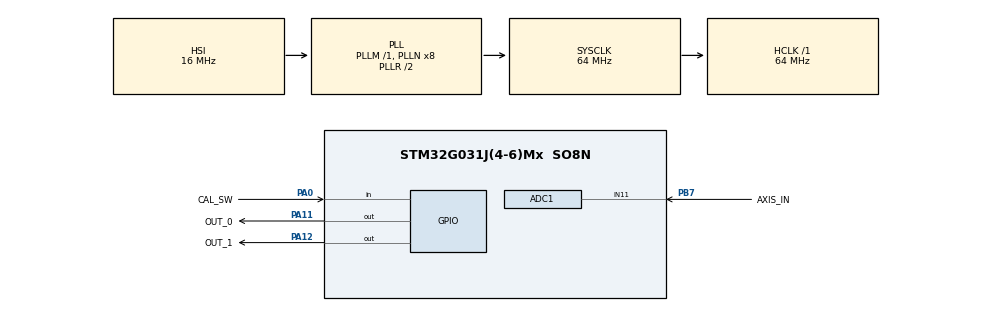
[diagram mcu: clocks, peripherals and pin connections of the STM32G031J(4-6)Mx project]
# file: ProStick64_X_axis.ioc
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ADC1.Channel-0\#ChannelRegularConversion=ADC_CHANNEL_11
ADC1.ContinuousConvMode=ENABLE
ADC1.NbrOfConversionFlag=1
ADC1.OversamplingMode=ENABLE
ADC1.Rank-0\#ChannelRegularConversion=1
ADC1.Ratio=ADC_OVERSAMPLING_RATIO_4
ADC1.RightBitShift=ADC_RIGHTBITSHIFT_2
ADC1.SamplingTime-0\#ChannelRegularConversion=ADC_SAMPLINGTIME_COMMON_1
ADC1.master=1
Mcu.Family=STM32G0
Mcu.Name=STM32G031J(4-6)Mx
Mcu.Package=SO8N
PA0.GPIO_Label=CAL_SW
PA0.Signal=GPIO_Input
PA11\ [PA9].GPIO_Label=OUT_0
PA11\ [PA9].Signal=GPIO_Output
PA12\ [PA10].GPIO_Label=OUT_1
PA12\ [PA10].Signal=GPIO_Output
PA13.Mode=Serial_Wire
PA13.Signal=SYS_SWDIO
PA14-BOOT0.Mode=Serial_Wire
PA14-BOOT0.Signal=SYS_SWCLK
PB7.GPIO_Label=AXIS_IN
PB7.Mode=IN11
PB7.Signal=ADC1_IN11
ProjectManager.HeapSize=0x200
ProjectManager.StackSize=0x400
ProjectManager.TargetToolchain=STM32CubeIDE
RCC.ADCFreq_Value=64000000
RCC.AHBFreq_Value=64000000
RCC.CortexFreq_Value=64000000
RCC.EXTERNAL_CLOCK_VALUE=12288000
RCC.HCLKFreq_Value=64000000
RCC.HSE_VALUE=8000000
RCC.HSI_VALUE=16000000
RCC.LSE_VALUE=32768
RCC.SYSCLKFreq_VALUE=64000000
RCC.SYSCLKSource=RCC_SYSCLKSOURCE_PLLCLK
RCC.VCOOutputFreq_Value=128000000
board=custom

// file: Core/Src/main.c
/* USER CODE BEGIN Header */
/**
  ******************************************************************************
  * @file           : main.c
  * @brief          : Main program body v3 for X axis processor
  ******************************************************************************
  ******************************************************************************
  * All the code OUTSIDE the "USER CODE" blocks is copyrighted as follows:
  *
  * Copyright (c) 2020 STMicroelectronics
  * All rights reserved
  *
  * This software component is licensed by ST under BSD 3-Clause license,
  * the "License"; You may not use this file except in compliance with the
  * License. You may obtain a copy of the License at:
  *                        opensource.org/licenses/BSD-3-Clause
  *
  ******************************************************************************
  *
  * All the code INSIDE the "USER CODE" blocks is copyrighted as follows:
  *
  * Copyright (c) 2020 Lorenzo Iori
  *
  * This program is free software: you can redistribute it and/or modify
  * it under the terms of the GNU General Public License as published by
  * the Free Software Foundation, either version 3 of the License, or
  * (at your option) any later version.
  *
  * This program is distributed in the hope that it will be useful,
  * but WITHOUT ANY WARRANTY; without even the implied warranty of
  * MERCHANTABILITY or FITNESS FOR A PARTICULAR PURPOSE.  See the
  * GNU General Public License for more details.
  *
  * You should have received a copy of the GNU General Public License
  * along with this program.  If not, see <http://www.gnu.org/licenses/>.
  */
/* USER CODE END Header */

#include "main.h"

/* USER CODE BEGIN PD */
#define MAX_RANGE     90			//Maximum number of steps in every direction
#define MAX_RANGE_EXT 120			//Maximum number of steps in every direction (ext)
#define DEADZONE      250			//Area that will be ignored (0-2048)
/* USER CODE END PD */

ADC_HandleTypeDef hadc1;

void SystemClock_Config(void);
static void MX_GPIO_Init(void);
static void MX_ADC1_Init(void);
/* USER CODE BEGIN PFP */
int16_t   getCalFlashSlot	(void);
void 		  calibration		  (uint8_t, uint8_t);
void 		  draw			      (int16_t);
void 		  writeToFlash	  (uint32_t, uint32_t, uint8_t);
void 		  eraseFlash 		  (void);
uint16_t 	getValue		    (void);
void 		  rotateLeft 		  (volatile uint32_t*);
void 		  rotateRight 	  (volatile uint32_t*);
void      swdioInput      (void);

/* USER CODE END PFP */

/* USER CODE BEGIN 0 */
volatile uint32_t* FLASH_SR  	  = (uint32_t*)0x40022010;  //MEMORY ADDRESSES
volatile uint32_t* FLASH_CR  	  = (uint32_t*)0x40022014;
volatile uint32_t* PAGE15_SLOT1 = (uint32_t*)0x08007800;
volatile uint32_t* GPIOA_IDR 	  = (uint32_t*)0x50000010;
volatile uint32_t* GPIOB_IDR 	  = (uint32_t*)0x50000410;
volatile uint32_t* GPIOA_ODR 	  = (uint32_t*)0x50000014;
volatile uint32_t* ADC_ISR 		  = (uint32_t*)0x40012400;
volatile uint32_t* ADC_DR 		  = (uint32_t*)0x40012440;
/* USER CODE END 0 */

int main(void)
{

  /* MCU Configuration--------------------------------------------------------*/

  /*Reset of all peripherals, Initializes the Flash interface and the Systick.*/
  HAL_Init();

  /* Configure the system clock */
  SystemClock_Config();

  /* Initialize all configured peripherals */
  MX_GPIO_Init();
  MX_ADC1_Init();
  /* USER CODE BEGIN 2 */
  HAL_ADC_Start(&hadc1);
  //The next line configures the output register with the bit wheel
  *GPIOA_ODR = (*GPIOA_ODR & 0xFFFF0000) + 0x6600;
  uint16_t calSwRead = (uint16_t)(*GPIOA_IDR) & 0x1; //calSw = GPIOA_PIN0 status
  uint8_t  calSw = 0;
  if (calSwRead) calSw = 1;
  int16_t 	calFlashSlot = getCalFlashSlot();

  //If getCalFlashSlot returns -1 it means there is no calibration data stored
  if (calFlashSlot == -1) calibration(calSw, 0);

  //If it returns 255 it means the memory is full. Erase + calibration needed.
  if (calFlashSlot == 255){
    eraseFlash();
    calibration(calSw, 0);
  }
  uint32_t 	w1 = *(PAGE15_SLOT1 + ((calFlashSlot)*2));
  uint32_t 	w2 = *(PAGE15_SLOT1 + ((calFlashSlot)*2) + 1);
  uint16_t 	w1a = (uint16_t)(w1>>16);
  uint16_t 	neutral16 = (uint16_t) w1;
  uint16_t 	calFactAInt = (uint16_t)(w2>>16);
  uint16_t 	calFactBInt = (uint16_t) w2;
  uint16_t 	min = w1a & 0x7FFF;
  uint8_t  	calSwOld = (uint8_t)(w1a >> 15);
  if (calSwOld != calSw){
  	calFlashSlot++;
    calibration(calSw, (uint8_t)calFlashSlot);
  }
  float    	calFactA = (float)calFactAInt / 10000;
  float    	calFactB = (float)calFactBInt / 10000;

  uint16_t 	value16, value16Old, value16Raw;
  int16_t 	steps = 0, pos = 0;
  uint16_t	stepScale = 0;
  value16Old = 2048;
  value16Raw = getValue();
  if (value16Raw < 1500 || value16Raw > 2500){
	  stepScale = 4096 / (MAX_RANGE_EXT * 2);
  } else {
	  stepScale = 4096 / (MAX_RANGE * 2);
  }
    /* USER CODE END 2 */

    /* Infinite loop */
    /* USER CODE BEGIN WHILE */
    while (1)
    {
  	  value16Raw = getValue();
  	  if (value16Raw < neutral16){
  		  if (value16Raw < min) value16Raw = min;
  		  value16 = value16Raw - min;
  		  value16 = value16 * calFactA;
  	  }
  	  if (value16Raw == neutral16)	value16 = neutral16;
  	  if (value16Raw > neutral16){
  		  value16 = value16Raw - neutral16;
  		  value16 = value16 * calFactB;
  		  value16 = value16 + 2048;
  	  }
  	  if (value16 > 2048 - DEADZONE && value16 < 2048 + DEADZONE){
  		  value16Old = value16;
  		  while (pos > 0){
  			  rotateLeft(GPIOA_ODR);
  			  pos--;
  		  }
  		  while (pos < 0){
  			  rotateRight(GPIOA_ODR);
  			  pos++;
  		  }
  	  }
  	  steps = steps + ((int16_t)value16 - value16Old);
  	  value16Old = value16;
  	  while (steps < -stepScale){
  		  rotateLeft(GPIOA_ODR);
  		  steps = steps + stepScale;
  		  pos--;
  	  }
  	  while (steps > stepScale){
  		  rotateRight(GPIOA_ODR);
  		  steps = steps - stepScale;
  		  pos++;
  	  }

    /* USER CODE END WHILE */

  }
}

void SystemClock_Config(void)
{
  RCC_OscInitTypeDef RCC_OscInitStruct = {0};
  RCC_ClkInitTypeDef RCC_ClkInitStruct = {0};
  RCC_PeriphCLKInitTypeDef PeriphClkInit = {0};

  /** Configure the main internal regulator output voltage
  */
  HAL_PWREx_ControlVoltageScaling(PWR_REGULATOR_VOLTAGE_SCALE1);
  /** Initializes the CPU, AHB and APB busses clocks
  */
  RCC_OscInitStruct.OscillatorType = RCC_OSCILLATORTYPE_HSI;
  RCC_OscInitStruct.HSIState = RCC_HSI_ON;
  RCC_OscInitStruct.HSIDiv = RCC_HSI_DIV1;
  RCC_OscInitStruct.HSICalibrationValue = RCC_HSICALIBRATION_DEFAULT;
  RCC_OscInitStruct.PLL.PLLState = RCC_PLL_ON;
  RCC_OscInitStruct.PLL.PLLSource = RCC_PLLSOURCE_HSI;
  RCC_OscInitStruct.PLL.PLLM = RCC_PLLM_DIV1;
  RCC_OscInitStruct.PLL.PLLN = 8;
  RCC_OscInitStruct.PLL.PLLP = RCC_PLLP_DIV2;
  RCC_OscInitStruct.PLL.PLLQ = RCC_PLLQ_DIV2;
  RCC_OscInitStruct.PLL.PLLR = RCC_PLLR_DIV2;
  if (HAL_RCC_OscConfig(&RCC_OscInitStruct) != HAL_OK)
  {
    Error_Handler();
  }
  /** Initializes the CPU, AHB and APB busses clocks
  */
  RCC_ClkInitStruct.ClockType = RCC_CLOCKTYPE_HCLK|RCC_CLOCKTYPE_SYSCLK
                              |RCC_CLOCKTYPE_PCLK1;
  RCC_ClkInitStruct.SYSCLKSource = RCC_SYSCLKSOURCE_PLLCLK;
  RCC_ClkInitStruct.AHBCLKDivider = RCC_SYSCLK_DIV1;
  RCC_ClkInitStruct.APB1CLKDivider = RCC_HCLK_DIV1;

  if (HAL_RCC_ClockConfig(&RCC_ClkInitStruct, FLASH_LATENCY_2) != HAL_OK)
  {
    Error_Handler();
  }
  /** Initializes the peripherals clocks
  */
  PeriphClkInit.PeriphClockSelection = RCC_PERIPHCLK_ADC;
  PeriphClkInit.AdcClockSelection = RCC_ADCCLKSOURCE_SYSCLK;
  if (HAL_RCCEx_PeriphCLKConfig(&PeriphClkInit) != HAL_OK)
  {
    Error_Handler();
  }
}

static void MX_ADC1_Init(void)
{

  ADC_AnalogWDGConfTypeDef AnalogWDGConfig = {0};
  ADC_ChannelConfTypeDef sConfig = {0};

  /*
    Configure the global features of the ADC
    (Clock, Resolution, Data Alignment and number of conversion)
  */
  hadc1.Instance = ADC1;
  hadc1.Init.ClockPrescaler = ADC_CLOCK_SYNC_PCLK_DIV2;
  hadc1.Init.Resolution = ADC_RESOLUTION_12B;
  hadc1.Init.DataAlign = ADC_DATAALIGN_RIGHT;
  hadc1.Init.ScanConvMode = ADC_SCAN_DISABLE;
  hadc1.Init.EOCSelection = ADC_EOC_SINGLE_CONV;
  hadc1.Init.LowPowerAutoWait = DISABLE;
  hadc1.Init.LowPowerAutoPowerOff = DISABLE;
  hadc1.Init.ContinuousConvMode = ENABLE;
  hadc1.Init.NbrOfConversion = 1;
  hadc1.Init.DiscontinuousConvMode = DISABLE;
  hadc1.Init.ExternalTrigConv = ADC_SOFTWARE_START;
  hadc1.Init.ExternalTrigConvEdge = ADC_EXTERNALTRIGCONVEDGE_NONE;
  hadc1.Init.DMAContinuousRequests = DISABLE;
  hadc1.Init.Overrun = ADC_OVR_DATA_PRESERVED;
  hadc1.Init.SamplingTimeCommon1 = ADC_SAMPLETIME_1CYCLE_5;
  hadc1.Init.SamplingTimeCommon2 = ADC_SAMPLETIME_1CYCLE_5;
  hadc1.Init.OversamplingMode = ENABLE;
  hadc1.Init.Oversampling.Ratio = ADC_OVERSAMPLING_RATIO_4;
  hadc1.Init.Oversampling.RightBitShift = ADC_RIGHTBITSHIFT_2;
  hadc1.Init.Oversampling.TriggeredMode = ADC_TRIGGEREDMODE_SINGLE_TRIGGER;
  hadc1.Init.TriggerFrequencyMode = ADC_TRIGGER_FREQ_HIGH;
  if (HAL_ADC_Init(&hadc1) != HAL_OK)
  {
    Error_Handler();
  }
  /** Configure Analog WatchDog 2
  */
  AnalogWDGConfig.WatchdogMode = ADC_ANALOGWATCHDOG_SINGLE_REG;
  if (HAL_ADC_AnalogWDGConfig(&hadc1, &AnalogWDGConfig) != HAL_OK)
  {
    Error_Handler();
  }
  /** Configure Regular Channel
  */
  sConfig.Channel = ADC_CHANNEL_11;
  sConfig.Rank = ADC_REGULAR_RANK_1;
  sConfig.SamplingTime = ADC_SAMPLINGTIME_COMMON_1;
  if (HAL_ADC_ConfigChannel(&hadc1, &sConfig) != HAL_OK)
  {
    Error_Handler();
  }
  /* USER CODE BEGIN ADC1_Init 2 */
  HAL_ADCEx_Calibration_Start(&hadc1);
  /* USER CODE END ADC1_Init 2 */

}

static void MX_GPIO_Init(void)
{
  GPIO_InitTypeDef GPIO_InitStruct = {0};

  /* GPIO Ports Clock Enable */
  __HAL_RCC_GPIOB_CLK_ENABLE();
  __HAL_RCC_GPIOA_CLK_ENABLE();

  /*Configure GPIO pin Output Level */
  HAL_GPIO_WritePin(GPIOA, OUT_0_Pin|OUT_1_Pin, GPIO_PIN_RESET);

  /*Configure GPIO pin : CAL_SW_Pin */
  GPIO_InitStruct.Pin = CAL_SW_Pin;
  GPIO_InitStruct.Mode = GPIO_MODE_INPUT;
  GPIO_InitStruct.Pull = GPIO_NOPULL;
  HAL_GPIO_Init(CAL_SW_GPIO_Port, &GPIO_InitStruct);

  /*Configure GPIO pins : OUT_0_Pin OUT_1_Pin */
  GPIO_InitStruct.Pin = OUT_0_Pin|OUT_1_Pin;
  GPIO_InitStruct.Mode = GPIO_MODE_OUTPUT_PP;
  GPIO_InitStruct.Pull = GPIO_NOPULL;
  GPIO_InitStruct.Speed = GPIO_SPEED_FREQ_LOW;
  HAL_GPIO_Init(GPIOA, &GPIO_InitStruct);

}

/* USER CODE BEGIN 4 */

//Find the FLASH memory slot currently in use
int16_t getCalFlashSlot(void){
	int16_t i = -1;
	uint32_t data = *PAGE15_SLOT1;
	while (((data != 0xFFFFFFFF) && i < 255)){
		i++;
		data = *(PAGE15_SLOT1 + i*2);
	}
	return i;
}
//Calibration 3.0
void calibration(uint8_t calSw, uint8_t calFlashSlot){

//PHASE 1 - Calculating neutral value
uint32_t 	value32=0, i=0, j=0, neutral32=0, w1=0xFFFFFFFF,w2=0xFFFFFFFF;
uint16_t 	value16=0, count=0, neutralAverage=0, neutralAverageOld=0;
uint16_t  max=0, min=0, MCU_OK=0;
uint16_t 	w1a=0xFFFF, w1b=0xFFFF, w2a=0xFFFF, w2b=0xFFFF;
uint8_t		neutralOK=0;
float			calFactA=0.0, calFactB=0.0;

HAL_Delay(5000);

swdioInput();

//Set GPIOA_PIN11 and PIN12 HIGH to communicate that MCU is ready to proceed
*GPIOA_ODR = (*GPIOA_ODR & 0xFFFF0000) + 0x1800;

//Wait until GPIOA_PIN13 becomes 1 - both MCUs are ready to proceed
while (!MCU_OK){
  MCU_OK = (uint16_t)(*GPIOA_IDR) & 0x2000;
}

HAL_Delay(100);

//The next line reconfigures the output register with the bit wheel
*GPIOA_ODR = (*GPIOA_ODR & 0xFFFF0000) + 0x6600;

MCU_OK = 0;
draw(3);

value16 = getValue();

while (value16<1600 || value16>2400){   //Wait for joystick to be centered
	value16 = getValue();
}
//Step 1.1 - Pull the stick to any corner and let go until neutral is OK
while (neutralOK<3){
	count++;
	while (value16>1500 && value16<2500){  //Wait for joystick to be moved
		value16 = getValue();
	}
	HAL_Delay(100);
	while (value16<1600 || value16>2400){  //Wait for joystick to return centered
		value16 = getValue();
	}
	HAL_Delay(500);									//Wait for spring to stabilize
	for (i=0; i<16; i++){						//Get neutral value by averaging 16 readings
		value32 = value32 + getValue();
	}
	neutral32 = neutral32 + (value32/16);	 //Add current neutral reading to pool
	value32 = 0;								           //Reset value32
	neutralAverage = (neutral32/count);
	if (neutralAverage == neutralAverageOld) neutralOK++;
	else neutralOK = 0;
	neutralAverageOld = neutralAverage;
}
//Set GPIOA_PIN11 and PIN12 HIGH to communicate that MCU is ready to proceed
*GPIOA_ODR = (*GPIOA_ODR & 0xFFFF0000) + 0x1800;

//Wait until GPIOA_PIN13 becomes 1 - both MCUs are ready to proceed
while (!MCU_OK){
  MCU_OK = (uint16_t)(*GPIOA_IDR) & 0x2000;
}

HAL_Delay(100);

//The next line reconfigures the output register with the bit wheel
*GPIOA_ODR = (*GPIOA_ODR & 0xFFFF0000) + 0x6600;

MCU_OK = 0;
draw(3);
//PHASE 2 - Calculating min and max while the stick is rotated
min = neutralAverage;
max = neutralAverage;
for (i=0; i<625000; i++){
	for (j=0; j<16; j++){
		value32 = value32 + getValue();
	}
	value16 = value32 / 16;
	value32 = 0;
	if (value16 > max){
		max = value16;
	}else if(value16 < min){
		min = value16;
	}
}
//PHASE 3 - Calculating calFactA and calFactB
calFactA = ((float)2047) / (neutralAverage - min);
calFactB = ((float)2048) / (max - neutralAverage);
//PHASE 4 - Calculating w1 and w2 and write to flash
/* Calibration data structure:

	w1 = 						w1a								  w1b
				|--1bit--|---------15bit----------|---------------16bit---------------|
				  calSw				min							neutral16

	w2 =						w2a									w2b
				|--------------16bit--------------|---------------16bit---------------|
							 calFactA							calFactB
*/
w1a = min + ((uint16_t)calSw << 15);
w1b = neutralAverage;
w2a = (uint16_t)(calFactA * 10000);
w2b = (uint16_t)(calFactB * 10000);
w1 = ((uint32_t)w1a << 16) + w1b;
w2 = ((uint32_t)w2a << 16) + w2b;
writeToFlash(w1, w2, calFlashSlot);

//Set GPIOA_PIN11 and PIN12 HIGH to communicate that MCU is ready to proceed
*GPIOA_ODR = (*GPIOA_ODR & 0xFFFF0000) + 0x1800;

//Wait until GPIOA_PIN13 becomes 1 - both MCUs are ready to proceed
while (!MCU_OK){
  MCU_OK = (uint16_t)(*GPIOA_IDR) & 0x2000;
}

HAL_Delay(100);

//The next line reconfigures the output register with the bit wheel
*GPIOA_ODR = (*GPIOA_ODR & 0xFFFF0000) + 0x6600;

MCU_OK = 0;
draw(-1);
}

//Move the cursor in a waving pattern for n times
void draw(int16_t n){
	uint8_t  i=0;
  uint16_t j=0;
  //if times_to_repeat = -1 loop indefinitely
  if (n == -1){
    while(1){
      for (i=0; i<40; i++){
  			rotateRight(GPIOA_ODR);
  			HAL_Delay(1);
  		}
  		HAL_Delay(500);
  		for (i=0; i<40; i++){
  			rotateLeft(GPIOA_ODR);
  			HAL_Delay(1);
  		}
  		for (i=0; i<40; i++){
  			rotateLeft(GPIOA_ODR);
  			HAL_Delay(1);
  		}
  		HAL_Delay(500);
  		for (i=0; i<40; i++){
  			rotateRight(GPIOA_ODR);
  			HAL_Delay(1);
  		}
    }
  }

  //otherwise loop n times
  else {
  	for (j=0; j<n; j++){
  		for (i=0; i<40; i++){
  			rotateRight(GPIOA_ODR);
  			HAL_Delay(1);
  		}
  		HAL_Delay(500);
  		for (i=0; i<40; i++){
  			rotateLeft(GPIOA_ODR);
  			HAL_Delay(1);
  		}
  		for (i=0; i<40; i++){
  			rotateLeft(GPIOA_ODR);
  			HAL_Delay(1);
  		}
  		HAL_Delay(500);
  		for (i=0; i<40; i++){
  			rotateRight(GPIOA_ODR);
  			HAL_Delay(1);
  		}
  	}
  }
}

//Write data into MCU flash memory
void writeToFlash(uint32_t w1, uint32_t w2, uint8_t calFlashSlot){

	HAL_FLASH_Unlock();
	while (*FLASH_SR&(1<<16));          			    //wait for BSY1 flag to be 0
	*FLASH_SR = *FLASH_SR & 0x00050000; 			    //reset all flash error flags
	while (*FLASH_SR&(1<<18));          			    //wait for CFGBSY1 flag to be 0
	*FLASH_CR = *FLASH_CR | 0x01; 					      //set PG flag
	*(PAGE15_SLOT1 + (calFlashSlot*2)) = w1;      //write w1 into Flash
	__ISB();				//Ensures that the two 32bit words are not merged by compiler
	*(PAGE15_SLOT1 + (calFlashSlot*2) + 1) = w2;  //write w2 into Flash
	while (*FLASH_SR&(1<<16));          			    //wait for BSY1 flag to be 0
	while (*FLASH_SR&(1<<18));          			    //wait for CFGBSY1 flag to be 0
	*FLASH_CR = *FLASH_CR & 0xFFFFFFFE;			     	//reset PG flag
	HAL_FLASH_Lock();
}

//Erase all data in pages 15 and 16 of MCU flash memory
void eraseFlash (void){
	HAL_FLASH_Unlock();
	while (*FLASH_SR&(1<<16));          	//wait for BSY1 flag to be 0
	*FLASH_SR = *FLASH_SR & 0x00050000; 	//reset all flash error flags
	*FLASH_CR = *FLASH_CR & 0xC0000000; 	//reset page erase and number flags
	*FLASH_CR = *FLASH_CR | 0x7A; 				//set page erase flag and page number 15
	*FLASH_CR = *FLASH_CR | (1<<16);    	//set start flag
	while (*FLASH_SR&(1<<16));          	//wait for BSY1 flag to be 0
	*FLASH_CR = *FLASH_CR & 0xC0000000; 	//reset page erase and number flags
	HAL_FLASH_Lock();
}

//Wait till new value is available from ADC data register and read it
uint16_t getValue(void){
  uint16_t value;
	while (!(*ADC_ISR & 1<<3));
	value = (uint16_t)(*ADC_DR);
	return value;
}

//Simulate an optical disc rotation (LEFT)
void rotateLeft (volatile uint32_t* GPIOA_ODR){
	uint8_t result, data;
	data = (uint8_t)(*(GPIOA_ODR)>>8);
	if ( data & 1<<7 ){
		result = (data<<1)|(1<<0);
	}else{
		result = (data<<1);
	}
	*GPIOA_ODR = (*GPIOA_ODR & 0xFFFF00FF) + ((uint16_t)result << 8);
}

//Simulate an optical disc rotation (RIGHT)
void rotateRight (volatile uint32_t* GPIOA_ODR){
	uint8_t result, data;
	data = (uint8_t)(*(GPIOA_ODR)>>8);
	if ( data & (1<<0) ){
		result = (data>>1)|(1<<7);
	}else{
		result = (data>>1);
	}
	*GPIOA_ODR = (*GPIOA_ODR & 0xFFFF00FF) + ((uint16_t)result << 8);
}

//Configure SWDIO pin (GPIOA_PIN13) as input
void swdioInput (void){
  GPIO_InitTypeDef GPIO_InitStruct = {0};
  GPIO_InitStruct.Pin  = GPIO_PIN_13;
  GPIO_InitStruct.Mode = GPIO_MODE_INPUT;
  GPIO_InitStruct.Pull = GPIO_PULLDOWN;
  HAL_GPIO_Init(GPIOA, &GPIO_InitStruct);
}
/* USER CODE END 4 */

void Error_Handler(void)
{
}

/*******************************END OF FILE************************************/
